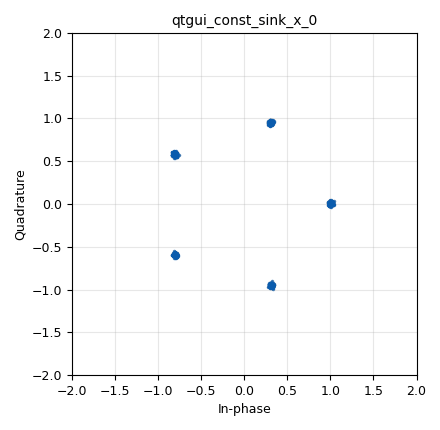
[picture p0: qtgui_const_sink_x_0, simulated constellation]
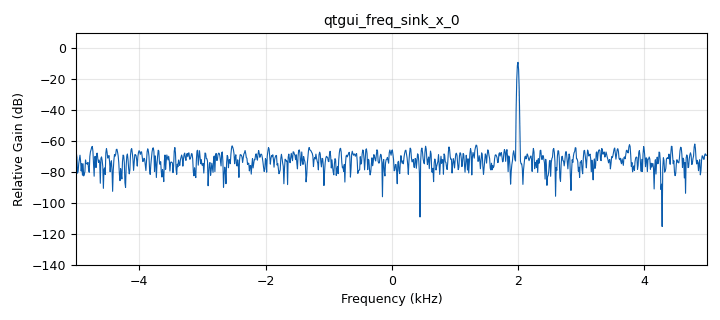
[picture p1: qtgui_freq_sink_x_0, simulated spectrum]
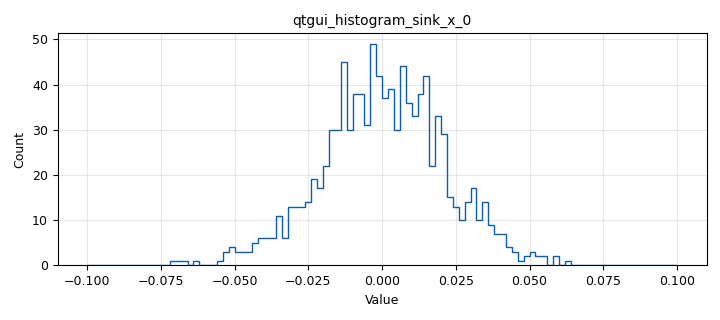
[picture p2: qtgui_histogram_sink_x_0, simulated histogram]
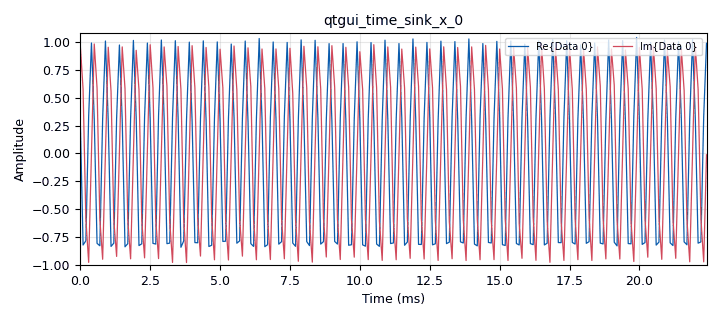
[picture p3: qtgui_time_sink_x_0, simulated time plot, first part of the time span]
options:
  parameters:
    generate_options: qt_gui
    id: ece531_opt
    output_language: python
    title: ece531_lab1a
  states: {}

blocks:
- name: freq
  id: variable
  parameters:
    value: '2000'
  states: {}
- name: magnitude
  id: variable_qtgui_range
  parameters:
    orient: Qt.Horizontal
    start: '0'
    step: '0.1'
    stop: '1'
    value: '0'
  states: {}
- name: phase
  id: variable_qtgui_range
  parameters:
    orient: Qt.Horizontal
    start: '0'
    step: '0.1'
    stop: '360'
    value: '0'
  states: {}
- name: samp_rate
  id: variable_qtgui_range
  parameters:
    orient: Qt.Horizontal
    start: '1000'
    step: '200'
    stop: '40000'
    value: '10000'
  states: {}
- name: analog_noise_source_x_0
  id: analog_noise_source_x
  parameters:
    amp: '0.02'
    noise_type: analog.GR_GAUSSIAN
    seed: '0'
    type: complex
  states: {}
- name: analog_noise_source_x_1
  id: analog_noise_source_x
  parameters:
    amp: '0.02'
    noise_type: analog.GR_GAUSSIAN
    seed: '0'
    type: float
  states: {}
- name: analog_sig_source_x_0
  id: analog_sig_source_x
  parameters:
    amp: '1'
    freq: freq
    offset: '0'
    phase: '0'
    samp_rate: samp_rate
    type: complex
    waveform: analog.GR_SIN_WAVE
  states: {}
- name: blocks_add_xx_0
  id: blocks_add_xx
  parameters:
    type: complex
  states: {}
- name: blocks_throttle_0
  id: blocks_throttle
  parameters:
    samples_per_second: '32000'
    type: complex
  states: {}
- name: channels_iqbal_gen_0
  id: channels_iqbal_gen
  parameters:
    mag: magnitude
    mode: '0'
    phase: phase
  states: {}
- name: qtgui_const_sink_x_0
  id: qtgui_const_sink_x
  parameters:
    gui_hint: tabs@2
    size: '1024'
    type: complex
  states: {}
- name: qtgui_freq_sink_x_0
  id: qtgui_freq_sink_x
  parameters:
    bw: samp_rate
    fc: '0'
    fftsize: '1024'
    gui_hint: tabs@1
    type: complex
    wintype: firdes.WIN_BLACKMAN_hARRIS
  states: {}
- name: qtgui_histogram_sink_x_0
  id: qtgui_histogram_sink_x
  parameters:
    bins: '100'
    gui_hint: tabs@3
    size: '1024'
    type: float
    xmax: '0.1'
    xmin: '-0.1'
  states: {}
- name: qtgui_time_sink_x_0
  id: qtgui_time_sink_x
  parameters:
    gui_hint: tabs@0
    size: '1024'
    srate: samp_rate
    type: complex
  states: {}
- name: tabs
  id: qtgui_tab_widget
  parameters:
    label0: Time
    label1: Frequency
    label2: Constellation
    label3: Tab 3
    num_tabs: '4'
  states: {}

connections:
- [analog_noise_source_x_0, '0', blocks_add_xx_0, '1']
- [analog_noise_source_x_1, '0', qtgui_histogram_sink_x_0, '0']
- [analog_sig_source_x_0, '0', blocks_add_xx_0, '0']
- [blocks_add_xx_0, '0', blocks_throttle_0, '0']
- [blocks_throttle_0, '0', channels_iqbal_gen_0, '0']
- [channels_iqbal_gen_0, '0', qtgui_const_sink_x_0, '0']
- [channels_iqbal_gen_0, '0', qtgui_freq_sink_x_0, '0']
- [channels_iqbal_gen_0, '0', qtgui_time_sink_x_0, '0']

metadata:
  file_format: 1
